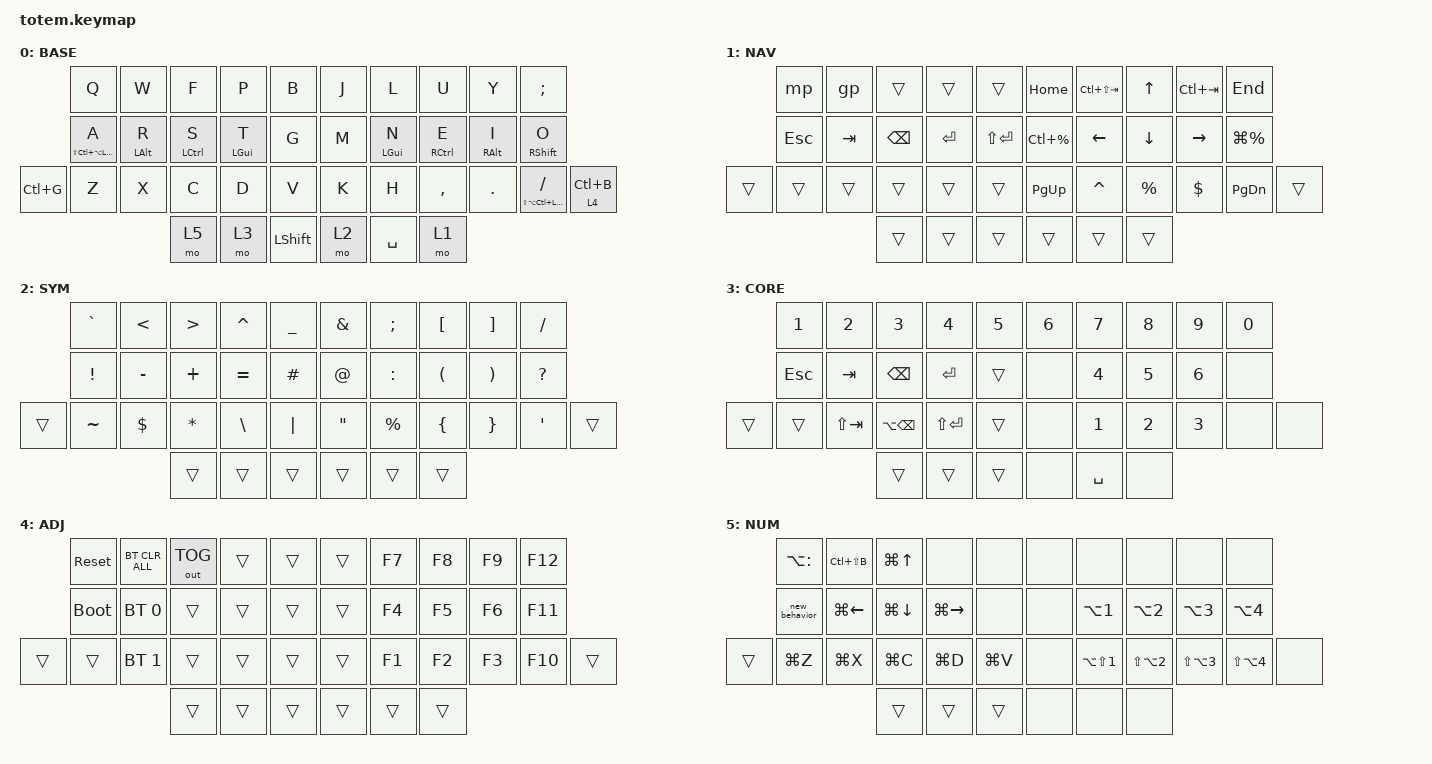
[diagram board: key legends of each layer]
//
//                                                        ▀▀▀▀▀     ▀▀▀▀▀          ▀▀█▀▀
//                                                        ▄▀▀▀▄  ▄  ▄▀▀▀▄  ▄  ▄▀▀▀▄  █  ▄▀▀▀▄
//                                                        █   █  █  █   █  █  █   █  █  █   █
//                                                         ▀▀▀   █   ▀▀▀   █   ▀▀▀   ▀   ▀▀▀
//                                                               █      ▄▄▄█▄▄▄    █   █  
//                                                               ▀      █  █  █     █▄█
//                                                             ▀▀▀▀▀    █  █  █      ▀
//                                                                      ▀  ▀  ▀
//
// ▄▄▄▄▄▄▄▄▄▄▄▄▄▄▄▄▄▄▄▄▄▄▄▄▄▄▄▄▄▄▄▄▄▄▄▄▄▄▄▄▄▄▄▄▄▄▄▄▄▄▄▄▄▄▄▄▄▄▄▄▄▄▄▄▄▄▄▄▄▄▄▄▄▄▄▄▄▄▄▄▄▄▄▄▄▄▄▄▄▄▄▄▄▄▄▄▄▄▄▄▄▄▄▄▄▄▄▄▄▄▄▄▄▄▄▄▄▄▄▄▄▄▄▄▄▄▄▄▄▄▄▄▄▄▄▄▄▄▄▄▄▄▄▄▄▄▄▄▄

#include <behaviors.dtsi>
#include <dt-bindings/zmk/bt.h>
#include <dt-bindings/zmk/keys.h>
#include <dt-bindings/zmk/outputs.h>

#define BASE 0
#define NAV  1
#define SYM  2
#define ADJ  3
#define TVP1 4
#define TVP2 5

&lt {
    tapping-term-ms = <175>;
    flavor = "tap-preferred";
};

&mt {
    flavor = "tap-preferred";
    tapping-term-ms = <175>;
};

/ {
    combos { compatible = "zmk,combos"; };

    macros {
        mp: mp {
            compatible = "zmk,behavior-macro";
            #binding-cells = <0>;
            bindings = <&none &kp M &kp A &kp S &kp T &kp E &kp R &kp LS(C) &kp H &kp LS(I) &kp E &kp LS(F) &kp AMPS &kp M &kp J &kp O &kp L &kp N &kp I &kp R &kp M &kp A &kp R &kp K &kp N5 &kp I &kp V &kp E &kp EXCL>;
            label = "MP";
        };

        gp: gp {
            compatible = "zmk,behavior-macro";
            #binding-cells = <0>;
            bindings = <&none &kp LS(M) &kp J &kp O &kp L &kp N &kp I &kp R &kp M &kp A &kp R &kp K &kp N5 &kp I &kp V &kp E>;
            label = "GP";
        };
    };

    behaviors {
        new_behavior: new_behavior {
            compatible = "zmk,behavior-tap-dance";
            label = "NEW_BEHAVIOR";
            #binding-cells = <0>;
            bindings = <&kp LEFT_SHIFT>, <&kp LC(LEFT_SHIFT)>;

            tapping-term-ms = <250>;
        };
    };

    keymap {
        compatible = "zmk,keymap";

        // ▄▄▄▄▄▄▄▄▄▄▄▄▄▄▄▄▄▄▄▄▄▄▄▄▄▄▄▄▄▄▄▄▄▄▄▄▄▄▄▄▄▄▄▄▄▄▄▄▄▄▄▄▄▄▄▄▄▄▄▄▄▄▄▄▄▄▄▄▄▄▄▄▄▄▄▄▄▄▄▄▄▄▄▄▄▄▄▄▄▄▄▄▄▄▄▄▄▄▄▄▄▄▄▄▄▄▄▄▄▄▄▄▄▄▄▄▄▄▄▄▄▄▄▄▄▄▄▄▄▄▄▄▄▄▄▄▄▄▄▄▄▄▄▄▄▄▄▄▄

        base_layer {
            // ┏━━━━━━━━━━━━━━━━━━━━━━━━━━━━━━━━━━━━━━━┓

            label = "BASE";

            // ┗━━━━━━━━━━━━━━━━━━━━━━━━━━━━━━━━━━━━━━━┛
            //             ┏━━━━━━━━━━━┳━━━━━━━━━━━┳━━━━━━━━━━━┳━━━━━━━━━━━┳━━━━━━━━━━━┓   ┏━━━━━━━━━━━┳━━━━━━━━━━━┳━━━━━━━━━━━┳━━━━━━━━━━━┳━━━━━━━━━━━┓
            //             ┃     Q     ┃     W     ┃     F     ┃     P     ┃     G     ┃   ┃     J     ┃     L     ┃     U     ┃     Y     ┃     ;     ┃
            //             ┣━━━━━━━━━━━╋━━━━━━━━━━━╋━━━━━━━━━━━╋━━━━━━━━━━━╋━━━━━━━━━━━┫   ┣━━━━━━━━━━━╋━━━━━━━━━━━╋━━━━━━━━━━━╋━━━━━━━━━━━╋━━━━━━━━━━━┫
            //             ┃     A     ┃     R     ┃     S     ┃     T     ┃     D     ┃   ┃     H     ┃     N     ┃     E     ┃     I     ┃     O     ┃
            // ┏━━━━━━━━━━━╋━━━━━━━━━━━╋━━━━━━━━━━━╋━━━━━━━━━━━╋━━━━━━━━━━━╋━━━━━━━━━━━┫   ┣━━━━━━━━━━━╋━━━━━━━━━━━╋━━━━━━━━━━━╋━━━━━━━━━━━╋━━━━━━━━━━━╋━━━━━━━━━━━┓
            // ┃     Q     ┃     Z     ┃     X     ┃     C     ┃     V     ┃     B     ┃   ┃     K     ┃     M     ┃     ,     ┃     .     ┃     /     ┃     \     ┃
            // ┗━━━━━━━━━━━┻━━━━━━━━━━━┻━━━━━━━━━━━╋━━━━━━━━━━━╋━━━━━━━━━━━╋━━━━━━━━━━━┫   ┣━━━━━━━━━━━╋━━━━━━━━━━━╋━━━━━━━━━━━╋━━━━━━━━━━━┻━━━━━━━━━━━┻━━━━━━━━━━━┛
            //                                     ┃    DEL    ┃    TAB    ┃    SPC    ┃   ┃   ENTER   ┃           ┃   BSPC    ┃
            //                                     ┗━━━━━━━━━━━┻━━━━━━━━━━━┻━━━━━━━━━━━┛   ┗━━━━━━━━━━━┻━━━━━━━━━━━┻━━━━━━━━━━━┛

            bindings = <
           &kp Q                       &kp W       &kp F        &kp P           &kp B             &kp J  &kp L           &kp U        &kp Y       &kp SEMI
           &mt LS(LC(LA(LEFT_GUI))) A  &mt LALT R  &mt LCTRL S  &mt LEFT_GUI T  &kp G             &kp M  &mt LEFT_GUI N  &mt RCTRL E  &mt RALT I  &mt RIGHT_SHIFT O
&kp LC(G)  &kp Z                       &kp X       &kp C        &kp D           &kp V             &kp K  &kp H           &kp COMMA    &kp DOT     &mt LS(LA(LC(LEFT_GUI))) SLASH  &lt 4 LC(B)
                                                   &mo 5        &mo 3           &kp LEFT_SHIFT    &mo 2  &kp SPACE       &mo 1
            >;
        };

        nav {
            // ┏━━━━━━━━━━━━━━━━━━━━━━━━━━━━━━━━━━━━━━━┓

            label = "NAV";

            // ┗━━━━━━━━━━━━━━━━━━━━━━━━━━━━━━━━━━━━━━━┛
            //             ┏━━━━━━━━━━━┳━━━━━━━━━━━┳━━━━━━━━━━━┳━━━━━━━━━━━┳━━━━━━━━━━━┓   ┏━━━━━━━━━━━┳━━━━━━━━━━━┳━━━━━━━━━━━┳━━━━━━━━━━━┳━━━━━━━━━━━┓
            //             ┃           ┃           ┃     UP    ┃           ┃     {     ┃   ┃     }     ┃     7     ┃     8     ┃     9     ┃     +     ┃
            //             ┣━━━━━━━━━━━╋━━━━━━━━━━━╋━━━━━━━━━━━╋━━━━━━━━━━━╋━━━━━━━━━━━┫   ┣━━━━━━━━━━━╋━━━━━━━━━━━╋━━━━━━━━━━━╋━━━━━━━━━━━╋━━━━━━━━━━━┫
            //             ┃   SHIFT   ┃   LEFT    ┃    DOWN   ┃   RIGHT   ┃     [     ┃   ┃     ]     ┃     4     ┃     5     ┃     6     ┃     -     ┃
            // ┏━━━━━━━━━━━╋━━━━━━━━━━━╋━━━━━━━━━━━╋━━━━━━━━━━━╋━━━━━━━━━━━╋━━━━━━━━━━━┫   ┣━━━━━━━━━━━╋━━━━━━━━━━━╋━━━━━━━━━━━╋━━━━━━━━━━━╋━━━━━━━━━━━╋━━━━━━━━━━━┓
            // ┃           ┃           ┃   P UP    ┃  C LOCK   ┃  P DOWN   ┃     (     ┃   ┃     )     ┃     1     ┃     2     ┃     3     ┃     *     ┃           ┃
            // ┗━━━━━━━━━━━┻━━━━━━━━━━━┻━━━━━━━━━━━╋━━━━━━━━━━━╋━━━━━━━━━━━╋━━━━━━━━━━━┫   ┣━━━━━━━━━━━╋━━━━━━━━━━━╋━━━━━━━━━━━╋━━━━━━━━━━━┻━━━━━━━━━━━┻━━━━━━━━━━━┛
            //                                     ┃           ┃    TAB    ┃    SPC    ┃   ┃    DEL    ┃     0     ┃           ┃
            //                                     ┗━━━━━━━━━━━┻━━━━━━━━━━━┻━━━━━━━━━━━┛   ┗━━━━━━━━━━━┻━━━━━━━━━━━┻━━━━━━━━━━━┛

            bindings = <
        &mp         &gp      &trans         &trans     &trans           &kp HOME         &kp LC(LS(TAB))  &kp UP_ARROW    &kp LC(TAB)      &kp END
        &kp ESCAPE  &kp TAB  &kp BACKSPACE  &kp ENTER  &kp LS(ENTER)    &kp LC(PERCENT)  &kp LEFT_ARROW   &kp DOWN_ARROW  &kp RIGHT_ARROW  &kp LG(PERCENT)
&trans  &trans      &trans   &trans         &trans     &trans           &kp PAGE_UP      &kp CARET        &kp PERCENT     &kp DOLLAR       &kp PAGE_DOWN    &trans
                             &trans         &trans     &trans           &trans           &trans           &trans
            >;
        };

        sym {
            // ┏━━━━━━━━━━━━━━━━━━━━━━━━━━━━━━━━━━━━━━━┓

            label = "SYM";

            // ┗━━━━━━━━━━━━━━━━━━━━━━━━━━━━━━━━━━━━━━━┛
            //             ┏━━━━━━━━━━━┳━━━━━━━━━━━┳━━━━━━━━━━━┳━━━━━━━━━━━┳━━━━━━━━━━━┓   ┏━━━━━━━━━━━┳━━━━━━━━━━━┳━━━━━━━━━━━┳━━━━━━━━━━━┳━━━━━━━━━━━┓
            //             ┃     !     ┃     @     ┃     #     ┃     $     ┃     %     ┃   ┃     ˆ     ┃     &     ┃     Ü     ┃     '     ┃     "     ┃
            //             ┣━━━━━━━━━━━╋━━━━━━━━━━━╋━━━━━━━━━━━╋━━━━━━━━━━━╋━━━━━━━━━━━┫   ┣━━━━━━━━━━━╋━━━━━━━━━━━╋━━━━━━━━━━━╋━━━━━━━━━━━╋━━━━━━━━━━━┫
            //             ┃     Ä     ┃           ┃    SZ     ┃           ┃           ┃   ┃   MUTE    ┃   YEN     ┃   EURO    ┃  POUND    ┃     Ö     ┃
            // ┏━━━━━━━━━━━╋━━━━━━━━━━━╋━━━━━━━━━━━╋━━━━━━━━━━━╋━━━━━━━━━━━╋━━━━━━━━━━━┫   ┣━━━━━━━━━━━╋━━━━━━━━━━━╋━━━━━━━━━━━╋━━━━━━━━━━━╋━━━━━━━━━━━╋━━━━━━━━━━━┓
            // ┃           ┃  EMAIL1   ┃  EMAIL2   ┃           ┃           ┃           ┃   ┃   VOL-    ┃   VOL+    ┃   LAST    ┃   NEXT    ┃     \     ┃           ┃
            // ┗━━━━━━━━━━━┻━━━━━━━━━━━┻━━━━━━━━━━━╋━━━━━━━━━━━╋━━━━━━━━━━━╋━━━━━━━━━━━┫   ┣━━━━━━━━━━━╋━━━━━━━━━━━╋━━━━━━━━━━━╋━━━━━━━━━━━┻━━━━━━━━━━━┻━━━━━━━━━━━┛
            //                                     ┃           ┃    GIF    ┃    ADJ    ┃   ┃           ┃           ┃           ┃
            //                                     ┗━━━━━━━━━━━┻━━━━━━━━━━━┻━━━━━━━━━━━┛   ┗━━━━━━━━━━━┻━━━━━━━━━━━┻━━━━━━━━━━━┛

            bindings = <
        &kp GRAVE        &kp LESS_THAN  &kp GREATER_THAN  &kp CARET      &kp UNDERSCORE    &kp AMPERSAND      &kp SEMICOLON  &kp LEFT_BRACKET      &kp RIGHT_BRACKET      &kp SLASH
        &kp EXCLAMATION  &kp MINUS      &kp PLUS          &kp EQUAL      &kp HASH          &kp AT_SIGN        &kp COLON      &kp LEFT_PARENTHESIS  &kp RIGHT_PARENTHESIS  &kp QUESTION
&trans  &kp TILDE        &kp DOLLAR     &kp ASTERISK      &kp BACKSLASH  &kp PIPE          &kp DOUBLE_QUOTES  &kp PERCENT    &kp LEFT_BRACE        &kp RIGHT_BRACE        &kp SINGLE_QUOTE  &trans
                                        &trans            &trans         &trans            &trans             &trans         &trans
            >;
        };

        core {
            // ┏━━━━━━━━━━━━━━━━━━━━━━━━━━━━━━━━━━━━━━━┓

            label = "CORE";

            // ┗━━━━━━━━━━━━━━━━━━━━━━━━━━━━━━━━━━━━━━━┛
            //             ┏━━━━━━━━━━━┳━━━━━━━━━━━┳━━━━━━━━━━━┳━━━━━━━━━━━┳━━━━━━━━━━━┓   ┏━━━━━━━━━━━┳━━━━━━━━━━━┳━━━━━━━━━━━┳━━━━━━━━━━━┳━━━━━━━━━━━┓
            //             ┃ NEXT FILE ┃ MARK IN   ┃ ROTATE    ┃ MARK OUT  ┃ SHOW SNAP ┃   ┃           ┃           ┃           ┃           ┃           ┃
            //             ┣━━━━━━━━━━━╋━━━━━━━━━━━╋━━━━━━━━━━━╋━━━━━━━━━━━╋━━━━━━━━━━━┫   ┣━━━━━━━━━━━╋━━━━━━━━━━━╋━━━━━━━━━━━╋━━━━━━━━━━━╋━━━━━━━━━━━┫
            //             ┃ TVP II    ┃ LEFT      ┃ PAN       ┃ RIGHT     ┃ PLAY/FLIP ┃   ┃           ┃           ┃           ┃           ┃           ┃
            // ┏━━━━━━━━━━━╋━━━━━━━━━━━╋━━━━━━━━━━━╋━━━━━━━━━━━╋━━━━━━━━━━━╋━━━━━━━━━━━┫   ┣━━━━━━━━━━━╋━━━━━━━━━━━╋━━━━━━━━━━━╋━━━━━━━━━━━╋━━━━━━━━━━━╋━━━━━━━━━━━┓
            // ┃ FULLSCR   ┃ SHIFT     ┃ COPY      ┃ DELETE    ┃ PASTE     ┃ IMG MARK  ┃   ┃           ┃           ┃           ┃           ┃           ┃           ┃
            // ┗━━━━━━━━━━━┻━━━━━━━━━━━┻━━━━━━━━━━━╋━━━━━━━━━━━╋━━━━━━━━━━━╋━━━━━━━━━━━┫   ┣━━━━━━━━━━━╋━━━━━━━━━━━╋━━━━━━━━━━━╋━━━━━━━━━━━┻━━━━━━━━━━━┻━━━━━━━━━━━┛
            //                                     ┃           ┃ UNDO/SAVE ┃  SEL/MOV  ┃   ┃           ┃           ┃           ┃
            //                                     ┗━━━━━━━━━━━┻━━━━━━━━━━━┻━━━━━━━━━━━┛   ┗━━━━━━━━━━━┻━━━━━━━━━━━┻━━━━━━━━━━━┛

            bindings = <
        &kp N1      &kp N2       &kp N3             &kp N4         &kp N5    &kp N6  &kp N7     &kp N8  &kp N9  &kp N0
        &kp ESCAPE  &kp TAB      &kp BACKSPACE      &kp ENTER      &trans    &none   &kp N4     &kp N5  &kp N6  &none
&trans  &trans      &kp LS(TAB)  &kp LA(BACKSPACE)  &kp LS(ENTER)  &trans    &none   &kp N1     &kp N2  &kp N3  &none   &none
                                 &trans             &trans         &trans    &none   &kp SPACE  &none
            >;
        };

        sys {
            // ┏━━━━━━━━━━━━━━━━━━━━━━━━━━━━━━━━━━━━━━━┓

            label = "ADJ";

            // ┗━━━━━━━━━━━━━━━━━━━━━━━━━━━━━━━━━━━━━━━┛
            //             ┏━━━━━━━━━━━┳━━━━━━━━━━━┳━━━━━━━━━━━┳━━━━━━━━━━━┳━━━━━━━━━━━┓   ┏━━━━━━━━━━━┳━━━━━━━━━━━┳━━━━━━━━━━━┳━━━━━━━━━━━┳━━━━━━━━━━━┓
            //             ┃   RESET   ┃ BT CLEAR  ┃  OUT TOG  ┃           ┃           ┃   ┃           ┃    F7     ┃    F8     ┃    F9     ┃    F12    ┃
            //             ┣━━━━━━━━━━━╋━━━━━━━━━━━╋━━━━━━━━━━━╋━━━━━━━━━━━╋━━━━━━━━━━━┫   ┣━━━━━━━━━━━╋━━━━━━━━━━━╋━━━━━━━━━━━╋━━━━━━━━━━━╋━━━━━━━━━━━┫
            //             ┃ BOOTLOAD  ┃ BT NEXT   ┃           ┃           ┃           ┃   ┃           ┃    F4     ┃    F5     ┃    F6     ┃    F11    ┃
            // ┏━━━━━━━━━━━╋━━━━━━━━━━━╋━━━━━━━━━━━╋━━━━━━━━━━━╋━━━━━━━━━━━╋━━━━━━━━━━━┫   ┣━━━━━━━━━━━╋━━━━━━━━━━━╋━━━━━━━━━━━╋━━━━━━━━━━━╋━━━━━━━━━━━╋━━━━━━━━━━━┓
            // ┃           ┃           ┃ BT PREV   ┃           ┃           ┃           ┃   ┃           ┃    F1     ┃    F2     ┃    F3     ┃    F10    ┃           ┃
            // ┗━━━━━━━━━━━┻━━━━━━━━━━━┻━━━━━━━━━━━╋━━━━━━━━━━━╋━━━━━━━━━━━╋━━━━━━━━━━━┫   ┣━━━━━━━━━━━╋━━━━━━━━━━━╋━━━━━━━━━━━╋━━━━━━━━━━━┻━━━━━━━━━━━┻━━━━━━━━━━━┛
            //                                     ┃           ┃           ┃           ┃   ┃           ┃           ┃           ┃
            //                                     ┗━━━━━━━━━━━┻━━━━━━━━━━━┻━━━━━━━━━━━┛   ┗━━━━━━━━━━━┻━━━━━━━━━━━┻━━━━━━━━━━━┛

            bindings = <
        &sys_reset   &bt BT_CLR_ALL  &out OUT_TOG  &trans  &trans    &trans  &kp F7  &kp F8  &kp F9  &kp F12
        &bootloader  &bt BT_SEL 0    &trans        &trans  &trans    &trans  &kp F4  &kp F5  &kp F6  &kp F11
&trans  &trans       &bt BT_SEL 1    &trans        &trans  &trans    &trans  &kp F1  &kp F2  &kp F3  &kp F10  &trans
                                     &trans        &trans  &trans    &trans  &trans  &trans
            >;
        };

        win_nav {
            label = "NUM";
            bindings = <
        &kp LA(COLON)  &kp LC(LS(B))  &kp LG(UP_ARROW)  &none          &none        &none  &none                 &none                 &none                 &none
        &new_behavior  &kp LG(LEFT)   &kp LG(DOWN)      &kp LG(RIGHT)  &none        &none  &kp LA(NUMBER_1)      &kp LA(NUMBER_2)      &kp LA(NUMBER_3)      &kp LA(NUMBER_4)
&trans  &kp LG(Z)      &kp LG(X)      &kp LG(C)         &kp LG(D)      &kp LG(V)    &none  &kp LA(LS(NUMBER_1))  &kp LS(LA(NUMBER_2))  &kp LS(LA(NUMBER_3))  &kp LS(LA(NUMBER_4))  &none
                                      &trans            &trans         &trans       &none  &none                 &none
            >;
        };
    };
};
